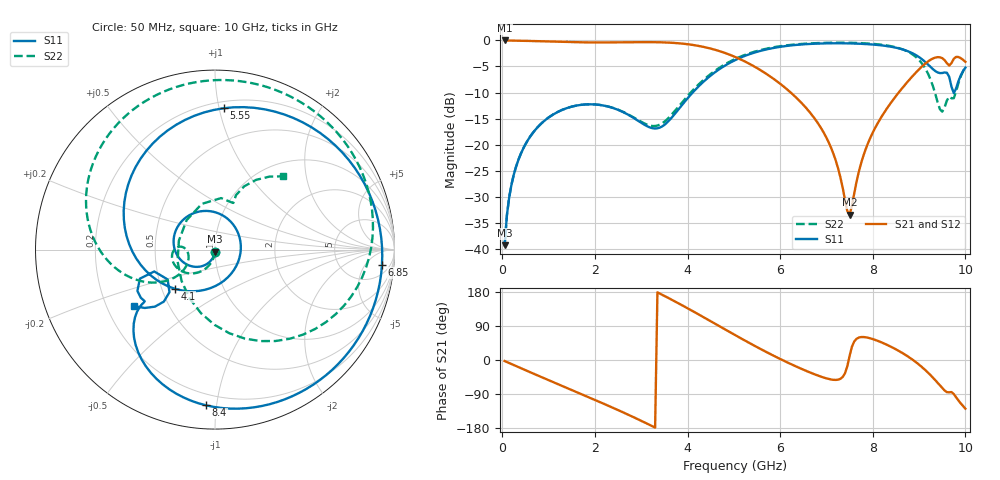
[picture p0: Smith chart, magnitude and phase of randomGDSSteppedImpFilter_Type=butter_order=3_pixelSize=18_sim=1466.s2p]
! freq	dB(S11)	phase(S11)	dB(S12)	phase(S12)
!  dB(S21)	phase(S21)	dB(S22)	phase(S22)
!S-par simulation data
#  GHz  S  DB  R 50
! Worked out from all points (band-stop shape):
!   200 points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, 50 MHz to 10 GHz, reference 50 ohm
!   highest |S21| = 0.00 dB at 50 MHz (marker M1); lowest = -33.4 dB at 7.5 GHz (marker M2)
!   |S21| within 3 dB of the highest: start of sweep to 4.985 GHz
!   lowest |S11| = -39.3 dB at 50 MHz (marker M3), VSWR 1.02, Z = 49.9 - j1.08 ohm
!   |S11| at or under -10 dB: start of sweep to 4.111 GHz; 9.745125 GHz to 9.75646 GHz (11.33 MHz wide, 0.116 % of centre)
!   |S22| runs from -39.5 to -0.4 dB; largest |S21 - S12| = 0
!   S11 on the Smith chart (normalised r, x): 50 MHz: 1.00, -0.02; 4.1 GHz: 0.58, -0.28; 5.55 GHz: 0.25, +1.03; 6.85 GHz: 10, -14; 8.4 GHz: 0.13, -0.94; 10 GHz: 0.32, -0.29
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0.05  -39.28 -92.2  -0.00 -2.7  -0.00 -2.7  -39.46 -91.7
0.2  -27.58 -102.9  -0.02 -10.8  -0.02 -10.8  -27.57 -98.9
0.5  -19.92 -122.4  -0.08 -26.8  -0.08 -26.8  -19.91 -112.2
1.75  -12.31 155.9  -0.37 -92.2  -0.37 -92.2  -12.30 -161.7
2.5  -13.31 97.6  -0.37 -132.2  -0.37 -132.2  -13.28 177.5
3.4  -16.72 -28.0  -0.35 175.4  -0.35 175.4  -16.16 -161.3
4.1  -10.10 -135.8  -0.84 129.8  -0.84 129.8  -9.69 -147.6
4.6  -6.06 171.4  -1.80 95.4  -1.80 95.4  -5.77 -163.8
5.05  -3.68 129.3  -3.25 64.2  -3.25 64.2  -3.47 176.1
5.55  -2.06 86.5  -5.56 30.8  -5.56 30.8  -1.90 151.9
6.05  -1.16 48.0  -8.66 -0.2  -8.66 -0.2  -1.04 127.5
6.7  -0.64 4.0  -14.45 -35.6  -14.45 -35.6  -0.55 96.2
6.85  -0.59 -5.3  -16.34 -42.6  -16.34 -42.6  -0.49 89.0
7.5  -0.57 -43.0  -33.41 11.0  -33.41 11.0  -0.45 56.7
7.85  -0.69 -62.3  -20.79 59.9  -20.79 59.9  -0.56 38.1
8.35  -1.14 -90.3  -12.48 37.5  -12.48 37.5  -1.03 7.7
8.4  -1.22 -93.2  -11.86 34.5  -11.86 34.5  -1.11 4.3
9.05  -3.52 -132.6  -5.10 -17.4  -5.10 -17.4  -4.28 -56.5
9.45  -6.27 -143.6  -3.23 -67.0  -3.23 -67.0  -13.20 -162.4
9.6  -6.20 -151.9  -4.36 -84.8  -4.36 -84.8  -11.53 106.1
9.75  -10.12 -147.8  -3.51 -90.0  -3.51 -90.0  -11.08 68.5
10  -5.22 -144.9  -4.10 -128.4  -4.10 -128.4  -5.06 47.0
